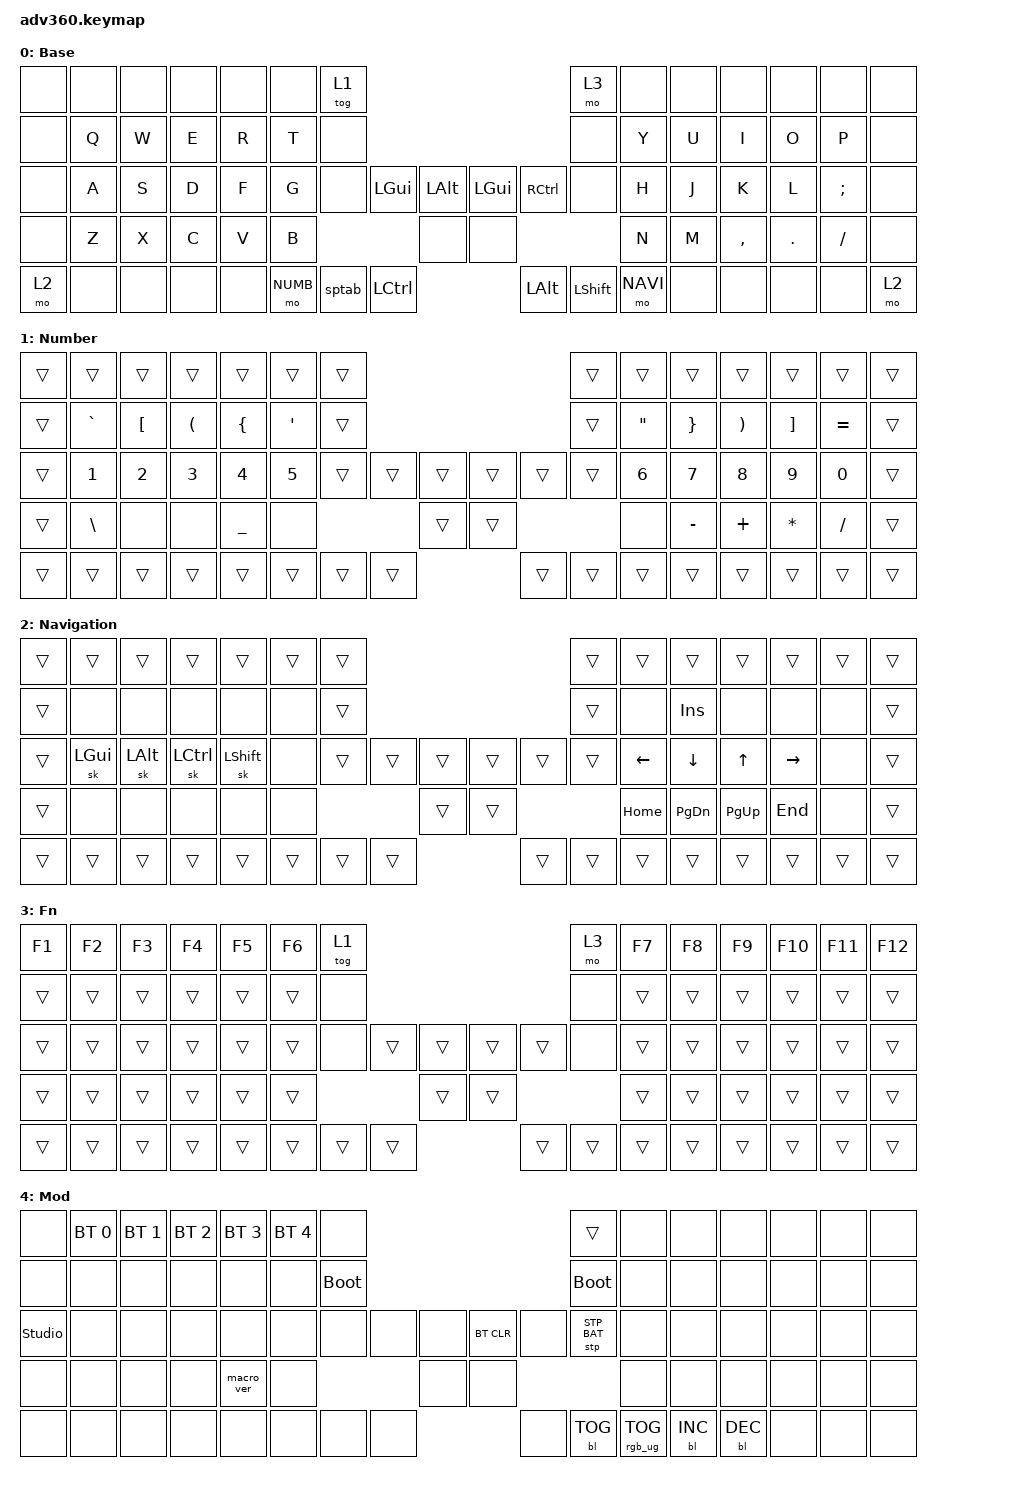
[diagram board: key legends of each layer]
#include <behaviors.dtsi>
#include <dt-bindings/zmk/keys.h>
#include <dt-bindings/zmk/bt.h>
#include <dt-bindings/zmk/rgb.h>
#include <dt-bindings/zmk/stp.h>
#include <dt-bindings/zmk/backlight.h>
#include <dt-bindings/zmk/pointing.h>

#include "adv360_keypos.h"
#include "homerow_mods.h"

#define BASE 0
#define NUMB 1
#define NAVI 2

#define LGUI2 &hml_s LGUI LGUI
#define LALT2 &hml_s LALT LALT
#define LCTRL2 &hml_s LCTRL LCTRL
#define LSHFT2 &hml_s LSHFT LSHFT

/ {
    behaviors {
      #include "macros.dtsi"
      #include "version.dtsi"

      hm: homerow_mods {
          compatible = "zmk,behavior-hold-tap";
          label = "HOMEROW_MODS";
          #binding-cells = <2>;
          tapping-term-ms = <200>;
          quick_tap_ms = <175>;
          flavor = "tap-preferred";
          bindings = <&kp>, <&kp>;
      };
      hml: home_row_mod_left {
          compatible = "zmk,behavior-hold-tap";
          #binding-cells = <2>;
          flavor = "tap-preferred";
          require-prior-idle-ms = <125>;
          tapping-term-ms = <200>;
          quick-tap-ms = <200>;
          bindings = <&kp>, <&kp>;
          hold-trigger-key-positions = < KEYS_R THUM_L THUM_R >; // List of keys on the right side of the keyboard
          hold-trigger-on-release;
      };
      hmr: home_row_mod_right {
          compatible = "zmk,behavior-hold-tap";
          #binding-cells = <2>;
          flavor = "tap-preferred";
          require-prior-idle-ms = <125>;
          tapping-term-ms = <200>;
          quick-tap-ms = <200>;
          bindings = <&kp>, <&kp>;
          hold-trigger-key-positions = < KEYS_L THUM_L THUM_R >; // List of keys on the left side of the keyboard
          hold-trigger-on-release;
      };
      hml_s: home_row_mod_left_sticky {
          compatible = "zmk,behavior-hold-tap";
          #binding-cells = <2>;
          flavor = "tap-preferred";
          require-prior-idle-ms = <125>;
          tapping-term-ms = <200>;
          quick-tap-ms = <200>;
          bindings = <&sk>, <&kp>;
          hold-trigger-key-positions = < KEYS_R THUM_L THUM_R >; // List of keys on the right side of the keyboard
          hold-trigger-on-release;
      };

      sptab: space_tab {
        compatible = "zmk,behavior-mod-morph";
        #binding-cells = <0>;
		bindings = <&kp SPACE>, <&kp TAB>;
		mods = <(MOD_LSFT | MOD_RSFT)>;
      };

      bsdel: backspace_delete {
        compatible = "zmk,behavior-mod-morph";
        #binding-cells = <0>;
		bindings = <&kp BSPC>, <&kp DEL>;
		mods = <(MOD_LSFT | MOD_RSFT)>;
      };
    };

  combos {
    compatible = "zmk,combos";

    combo_esc {
      bindings = <&kp ESC>;
      key-positions = <LT2 LT3>;
      timeout-ms = <50>;
    };

#if 0
    combo_tab {
      bindings = <&kp TAB>;
      key-positions = <LB2 LB3>;
      timeout-ms = <50>;
    };
#endif

    combo_bspc {
      bindings = <&bsdel>;
      key-positions = <RT3 RT4>;
      timeout-ms = <50>;
    };

    combo_ret {
      bindings = <&kp RET>;
      key-positions = <RB2 RB3>;
      timeout-ms = <50>;
    };
  };

  keymap {
    compatible = "zmk,keymap";

    default_layer {
      display-name = "Base";
      bindings = <
        &none     &none     &none    &none    &none      &none  &tog 1                                                           &mo 3 &none  &none  &none     &none    &none    &none
        &none     &kp Q     &kp W    &kp E    &kp R      &kp T  &none                                                            &none &kp Y  &kp U  &kp I     &kp O    &kp P    &none
        &none     &kp A     &kp S    &kp D    &kp F      &kp G  &none           &kp LGUI  &kp LALT &kp LGUI  &kp RCTRL           &none &kp H  &kp J  &kp K     &kp L    &kp SEMI &none
        &none     &kp Z     &kp X    &kp C    &kp V      &kp B                            &none    &none                               &kp N  &kp M  &kp COMMA &kp DOT  &kp FSLH &none
        &mo 2     &none     &none    &none    &none                    &mo NUMB &sptab    &kp LCTRL &kp LALT &kp LSHFT &mo NAVI               &none  &none     &none    &none    &mo 2
      >;
    };
    numb_layer {
      display-name = "Number";
      bindings = <
        &trans    &trans    &trans   &trans   &trans     &trans &trans                                                           &trans &trans &trans    &trans       &trans        &trans          &trans
        &trans    &kp GRAVE &kp LBKT &kp LPAR &kp LBRC   &kp SQT &trans                                                           &trans &kp DQT &kp RBRC &kp RPAR    &kp RBKT      &kp EQUAL       &trans
        &trans    &kp N1    &kp N2   &kp N3   &kp N4     &kp N5 &trans          &trans    &trans   &trans    &trans              &trans &kp N6 &kp N7    &kp N8       &kp N9        &kp N0          &trans
        &trans    &kp BSLH  &none    &none    &kp UNDER	 &none                            &trans   &trans                               &none  &kp MINUS &kp PLUS     &kp ASTRK     &kp FSLH        &trans
        &trans    &trans    &trans   &trans   &trans                   &trans   &trans    &trans   &trans    &trans    &trans                  &trans    &trans       &trans        &trans          &trans
      >;
    };
    navi_layer {
      display-name = "Navigation";
      bindings = <
        &trans    &trans    &trans   &trans   &trans     &trans &trans                                                           &trans &trans &trans    &trans       &trans        &trans          &trans
        &trans    &none     &none    &none    &none      &none  &trans                                                           &trans &none  &kp INS   &none        &none         &none           &trans
        &trans    &sk LGUI  &sk LALT &sk LCTRL &sk LSHFT &none  &trans          &trans    &trans   &trans    &trans              &trans &kp LEFT &kp DOWN &kp UP      &kp RIGHT     &none           &trans
        &trans    &none     &none    &none    &none      &none                            &trans   &trans                               &kp HOME &kp PG_DN &kp PG_UP  &kp END       &none           &trans
        &trans    &trans    &trans   &trans   &trans                   &trans   &trans    &trans   &trans    &trans    &trans                  &trans    &trans       &trans        &trans          &trans
      >;
    };
#if 0
    dummy_layer {
      display-name = "Dummy";
      bindings = <
        &trans    &trans    &trans   &trans   &trans     &trans &trans                                                           &trans &trans &trans    &trans       &trans        &trans          &trans
        &trans    &trans    &trans   &trans   &trans     &trans &trans                                                           &trans &trans &trans    &trans       &trans        &trans          &trans
        &trans    &trans    &trans   &trans   &trans     &trans &trans          &trans    &trans   &trans    &trans              &trans &trans &trans    &trans       &trans        &trans          &trans
        &trans    &trans    &trans   &trans   &trans     &trans                           &trans   &trans                               &trans &trans    &trans       &trans        &trans          &trans
        &trans    &trans    &trans   &trans   &trans                   &trans   &trans    &trans   &trans    &trans    &trans                  &trans    &trans       &trans        &trans          &trans
      >;
    };
    keypad {
      display-name = "Kp";
      bindings = <
        &kp EQUAL &kp N1    &kp N2   &kp N3   &kp N4     &kp N5 &trans                                                           &mo 3 &kp N6 &kp KP_NUM &kp KP_EQUAL &kp KP_DIVIDE &kp KP_MULTIPLY &kp MINUS
        &kp TAB   &kp Q     &kp W    &kp E    &kp R      &kp T  &none                                                            &none &kp Y  &kp KP_N7  &kp KP_N8    &kp KP_N9     &kp KP_MINUS    &kp BSLH
        &kp ESC   &kp A     &kp S    &kp D    &kp F      &kp G  &none           &kp LCTRL &kp LALT &kp LGUI  &kp RCTRL           &none &kp H  &kp KP_N4  &kp KP_N5    &kp KP_N6     &kp KP_PLUS     &kp SQT
        &kp LSHFT &kp Z     &kp X    &kp C    &kp V      &kp B                            &kp HOME &kp PG_UP                           &kp N  &kp KP_N1  &kp KP_N2    &kp KP_N3     &kp KP_ENTER    &kp RSHFT
        &mo 2     &kp GRAVE &kp CAPS &kp LEFT &kp RIGHT                &kp BSPC &kp DEL   &kp END  &kp PG_DN &kp ENTER &kp KP_N0              &kp UP     &kp DOWN     &kp KP_DOT    &kp RBKT        &mo 2
      >;
    };
#endif
    fn {
      display-name = "Fn";
      bindings = <
        &kp F1 &kp F2 &kp F3 &kp F4 &kp F5 &kp F6 &tog 1                                           &mo 3 &kp F7 &kp F8 &kp F9 &kp F10 &kp F11 &kp F12
        &trans &trans &trans &trans &trans &trans  &none                                           &none &trans &trans &trans &trans  &trans  &trans
        &trans &trans &trans &trans &trans &trans  &none        &trans &trans &trans &trans        &none &trans &trans &trans &trans  &trans  &trans
        &trans &trans &trans &trans &trans &trans                      &trans &trans                     &trans &trans &trans &trans  &trans  &trans
        &trans &trans &trans &trans &trans               &trans &trans &trans &trans &trans &trans              &trans &trans &trans  &trans  &trans
      >;
    };
    mod {
      display-name = "Mod";
      bindings = <
        &none &bt BT_SEL 0 &bt BT_SEL 1 &bt BT_SEL 2 &bt BT_SEL 3 &bt BT_SEL 4 &none                                                                     &trans                 &none        &none        &none        &none &none &none
        &none &none        &none        &none        &none        &none        &bootloader                                                               &bootloader            &none        &none        &none        &none &none &none
        &studio_unlock &none        &none        &none        &none        &none        &none                   &none &none &bt BT_CLR &none                      &stp STP_BAT &none        &none        &none        &none &none &none
        &none &none        &none        &none        &macro_ver   &none                                      &none &none                                                        &none        &none        &none        &none &none &none
        &none &none        &none        &none        &none                                       &none &none &none &none      &bl BL_TOG &rgb_ug RGB_TOG                                     &bl BL_INC   &bl BL_DEC   &none &none &none
      >;
    };
    extra1 { 
      display-name = "Red";    
      status = "reserved";
    };

    extra2 { 
      display-name = "Purple";    
      status = "reserved";
    };

    extra3 { 
      display-name = "Cyan";    
      status = "reserved";
    };

    extra4 { 
      display-name = "Yellow";    
      status = "reserved";
    };
  };
};
